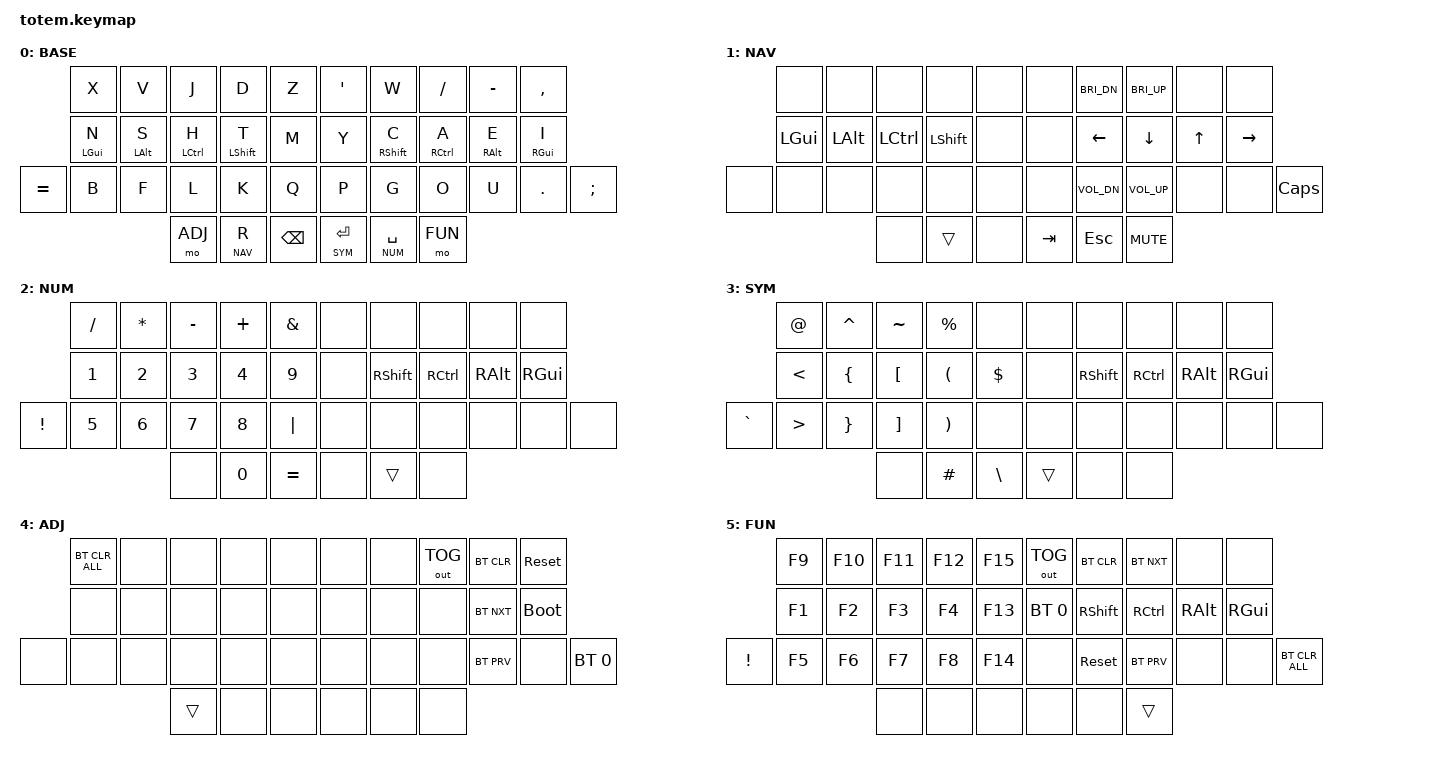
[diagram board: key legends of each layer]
//
//                                                        ▀▀▀▀▀     ▀▀▀▀▀          ▀▀█▀▀
//                                                        ▄▀▀▀▄  ▄  ▄▀▀▀▄  ▄  ▄▀▀▀▄  █  ▄▀▀▀▄
//                                                        █   █  █  █   █  █  █   █  █  █   █
//                                                         ▀▀▀   █   ▀▀▀   █   ▀▀▀   ▀   ▀▀▀
//                                                               █      ▄▄▄█▄▄▄    █   █
//                                                               ▀      █  █  █     █▄█
//                                                             ▀▀▀▀▀    █  █  █      ▀
//                                                                      ▀  ▀  ▀
//
// ▄▄▄▄▄▄▄▄▄▄▄▄▄▄▄▄▄▄▄▄▄▄▄▄▄▄▄▄▄▄▄▄▄▄▄▄▄▄▄▄▄▄▄▄▄▄▄▄▄▄▄▄▄▄▄▄▄▄▄▄▄▄▄▄▄▄▄▄▄▄▄▄▄▄▄▄▄▄▄▄▄▄▄▄▄▄▄▄▄▄▄▄▄▄▄▄▄▄▄▄▄▄▄▄▄▄▄▄▄▄▄▄▄▄▄▄▄▄▄▄▄▄▄▄▄▄▄▄▄▄▄▄▄▄▄▄▄▄▄▄▄▄▄▄▄▄▄▄▄
       

#include <behaviors.dtsi>
#include <dt-bindings/zmk/keys.h>
#include <dt-bindings/zmk/bt.h>
#include <dt-bindings/zmk/outputs.h>

#define KEYS_L 0 1 2 3 4 10 11 12 13 14 20 21 22 23 24 25
#define KEYS_R 5 6 7 8 9 15 16 17 18 19 26 27 28 29 30 31
#define KEYS_T 32 33 34 35 36 37

//    0  1  2  3  4     5  6  7  8  9 
//    10 11 12 13 14    15 16 17 18 19
// 20 21 22 23 24 25    26 27 28 29 30 31
//          32 33 34    35 36 37

#define BASE 0
#define NAV  1
#define NUM  2
#define SYM  3
#define ADJ  4
#define FUN  5

&lt {
    tapping-term-ms = <200>;
    flavor = "balanced";
};

/ {
    behaviors {
        hml: home_row_mod_left {
            compatible = "zmk,behavior-hold-tap";
            #binding-cells = <2>;
            bindings = <&kp>, <&kp>;
            flavor = "balanced";
            tapping-term-ms = <200>;
            require-prior-idle-ms = <100>;
            hold-trigger-key-positions = <KEYS_R KEYS_T>;
            hold-trigger-on-release;
        };
        hmr: home_row_mod_right {
            compatible = "zmk,behavior-hold-tap";
            #binding-cells = <2>;
            bindings = <&kp>, <&kp>;
            flavor = "balanced";
            tapping-term-ms = <200>;
            require-prior-idle-ms = <100>;
            hold-trigger-key-positions = <KEYS_L KEYS_T>;
            hold-trigger-on-release;
        };

        lrpar: left_right_paren {
            compatible = "zmk,behavior-mod-morph";
            #binding-cells = <0>;
            bindings = <&kp LPAR>, <&kp RPAR>;
            mods = <(MOD_LSFT|MOD_RSFT)>;
        };
        lrbkt: left_right_bracket {
            compatible = "zmk,behavior-mod-morph";
            #binding-cells = <0>;
            bindings = <&kp LBKT>, <&kp RBKT>;
            mods = <(MOD_LSFT|MOD_RSFT)>;
        };
        lrbrc: left_right_brace {
            compatible = "zmk,behavior-mod-morph";
            #binding-cells = <0>;
            bindings = <&kp LBRC>, <&kp RBRC>;
            mods = <(MOD_LSFT|MOD_RSFT)>;
        };
        lrcmp: left_right_compare {
            compatible = "zmk,behavior-mod-morph";
            #binding-cells = <0>;
            bindings = <&kp LT>, <&kp GT>;
            mods = <(MOD_LSFT|MOD_RSFT)>;
        };
    };
    combos {
        compatible = "zmk,combos";
        combo_esc {
            timeout-ms = <50>;
            key-positions = <33 36>;
            bindings = <&kp ESC>;
        };
        combo_cw {
            timeout-ms = <50>;
            key-positions = <13 16>;
            bindings = <&caps_word>;
        };
    };

    keymap {
        compatible = "zmk,keymap";
        // ▄▄▄▄▄▄▄▄▄▄▄▄▄▄▄▄▄▄▄▄▄▄▄▄▄▄▄▄▄▄▄▄▄▄▄▄▄▄▄▄▄▄▄▄▄▄▄▄▄▄▄▄▄▄▄▄▄▄▄▄▄▄▄▄▄▄▄▄▄▄▄▄▄▄▄▄▄▄▄▄▄▄▄▄▄▄▄▄▄▄▄▄▄▄▄▄▄▄▄▄▄▄▄▄▄▄▄▄▄▄▄▄▄▄▄▄▄▄▄▄▄▄▄▄▄▄▄▄▄▄▄▄▄▄▄▄▄▄▄▄▄▄▄▄▄▄▄▄▄

        base_layer {
            label= "BASE";
            bindings = <

                &kp X        &kp V       &kp J        &kp D        &kp Z           &kp SQT     &kp W         &kp FSLH     &kp MINUS   &kp COMMA
                &hml LGUI N  &hml LALT S &hml LCTRL H &hml LSHFT T &kp M           &kp Y       &hmr RSHFT C  &hmr RCTRL A &hmr RALT E &hmr RGUI I
    &kp EQUAL   &kp B        &kp F       &kp L        &kp K        &kp Q           &kp P       &kp G         &kp O        &kp U       &kp DOT     &kp SEMI
                                         &mo ADJ        &lt NAV R    &kp BSPC        &lt SYM RET &lt NUM SPACE &mo FUN
            >;
        };

        // ▄▄▄▄▄▄▄▄▄▄▄▄▄▄▄▄▄▄▄▄▄▄▄▄▄▄▄▄▄▄▄▄▄▄▄▄▄▄▄▄▄▄▄▄▄▄▄▄▄▄▄▄▄▄▄▄▄▄▄▄▄▄▄▄▄▄▄▄▄▄▄▄▄▄▄▄▄▄▄▄▄▄▄▄▄▄▄▄▄▄▄▄▄▄▄▄▄▄▄▄▄▄▄▄▄▄▄▄▄▄▄▄▄▄▄▄▄▄▄▄▄▄▄▄▄▄▄▄▄▄▄▄▄▄▄▄▄▄▄▄▄▄▄▄▄▄▄▄▄


        nav_layer {
            label= "NAV";
            bindings = <

                &none    &none    &none     &none     &none     &none   &kp C_BRI_DN &kp C_BRI_UP &none  &none
                &kp LGUI &kp LALT &kp LCTRL &kp LSHFT &none     &none   &kp LEFT     &kp DOWN     &kp UP &kp RIGHT
    &none       &none    &none    &none     &none     &none     &none   &kp C_VOL_DN &kp C_VOL_UP &none  &none     &kp CAPS
                                  &none     &trans    &none     &kp TAB &kp ESC &kp C_MUTE
            >;
        };

        // ▄▄▄▄▄▄▄▄▄▄▄▄▄▄▄▄▄▄▄▄▄▄▄▄▄▄▄▄▄▄▄▄▄▄▄▄▄▄▄▄▄▄▄▄▄▄▄▄▄▄▄▄▄▄▄▄▄▄▄▄▄▄▄▄▄▄▄▄▄▄▄▄▄▄▄▄▄▄▄▄▄▄▄▄▄▄▄▄▄▄▄▄▄▄▄▄▄▄▄▄▄▄▄▄▄▄▄▄▄▄▄▄▄▄▄▄▄▄▄▄▄▄▄▄▄▄▄▄▄▄▄▄▄▄▄▄▄▄▄▄▄▄▄▄▄▄▄▄▄


        num_layer {
            label= "NUM";
            bindings = <

                &kp FSLH &kp STAR &kp MINUS &kp PLUS &kp AMPS        &none &none      &none     &none    &none
                &kp N1   &kp N2   &kp N3    &kp N4   &kp N9          &none &kp RSHFT  &kp RCTRL &kp RALT &kp RGUI
    &kp EXCL    &kp N5   &kp N6   &kp N7    &kp N8   &kp PIPE        &none &none      &none     &none    &none    &none
                                  &none     &kp N0   &kp EQUAL       &none &trans     &none
            >;
        };

        // ▄▄▄▄▄▄▄▄▄▄▄▄▄▄▄▄▄▄▄▄▄▄▄▄▄▄▄▄▄▄▄▄▄▄▄▄▄▄▄▄▄▄▄▄▄▄▄▄▄▄▄▄▄▄▄▄▄▄▄▄▄▄▄▄▄▄▄▄▄▄▄▄▄▄▄▄▄▄▄▄▄▄▄▄▄▄▄▄▄▄▄▄▄▄▄▄▄▄▄▄▄▄▄▄▄▄▄▄▄▄▄▄▄▄▄▄▄▄▄▄▄▄▄▄▄▄▄▄▄▄▄▄▄▄▄▄▄▄▄▄▄▄▄▄▄▄▄▄▄


        sym_layer {
            label= "SYM";
            bindings = <

                &kp AT    &kp CARET &kp TILDE &kp PRCNT &none          &none  &none     &none     &none    &none
                &kp LT    &kp LBRC  &kp LBKT  &kp LPAR  &kp DLLR       &none  &kp RSHFT &kp RCTRL &kp RALT &kp RGUI
    &kp GRAVE   &kp GT    &kp RBRC  &kp RBKT  &kp RPAR  &none          &none  &none     &none     &none    &none    &none
                                    &none     &kp HASH  &kp BSLH       &trans &none     &none
            >;
        };

        // ▄▄▄▄▄▄▄▄▄▄▄▄▄▄▄▄▄▄▄▄▄▄▄▄▄▄▄▄▄▄▄▄▄▄▄▄▄▄▄▄▄▄▄▄▄▄▄▄▄▄▄▄▄▄▄▄▄▄▄▄▄▄▄▄▄▄▄▄▄▄▄▄▄▄▄▄▄▄▄▄▄▄▄▄▄▄▄▄▄▄▄▄▄▄▄▄▄▄▄▄▄▄▄▄▄▄▄▄▄▄▄▄▄▄▄▄▄▄▄▄▄▄▄▄▄▄▄▄▄▄▄▄▄▄▄▄▄▄▄▄▄▄▄▄▄▄▄▄▄


        adjust_layer {
            label= "ADJ";
            bindings = <

                &bt BT_CLR_ALL &none &none  &none    &none &none &none &out OUT_TOG &bt BT_CLR &sys_reset
                &none          &none &none  &none    &none &none &none &none        &bt BT_NXT &bootloader  
    &none       &none          &none &none  &none    &none &none &none &none        &bt BT_PRV &none       &bt BT_SEL 0         
                               &trans &none &none    &none &none &none      
            >;
        };

// ▄▄▄▄▄▄▄▄▄▄▄▄▄▄▄▄▄▄▄▄▄▄▄▄▄▄▄▄▄▄▄▄▄▄▄▄▄▄▄▄▄▄▄▄▄▄▄▄▄▄▄▄▄▄▄▄▄▄▄▄▄▄▄▄▄▄▄▄▄▄▄▄▄▄▄▄▄▄▄▄▄▄▄▄▄▄▄▄▄▄▄▄▄▄▄▄▄▄▄▄▄▄▄▄▄▄▄▄▄▄▄▄▄▄▄▄▄▄▄▄▄▄▄▄▄▄▄▄▄▄▄▄▄▄▄▄▄▄▄▄▄▄▄▄▄▄▄▄▄


        fun_layer {
            label= "FUN";
            bindings = <

                &kp F9   &kp F10  &kp F11   &kp F12  &kp F15        &out OUT_TOG &bt BT_CLR &bt BT_NXT &none    &none
                &kp F1   &kp F2   &kp F3    &kp F4   &kp F13        &bt BT_SEL 0 &kp RSHFT  &kp RCTRL  &kp RALT &kp RGUI
    &kp EXCL    &kp F5   &kp F6   &kp F7    &kp F8   &kp F14        &none        &sys_reset &bt BT_PRV &none    &none    &bt BT_CLR_ALL
                                  &none     &none    &none          &none        &none          &trans
            >;
        };
    };
};
